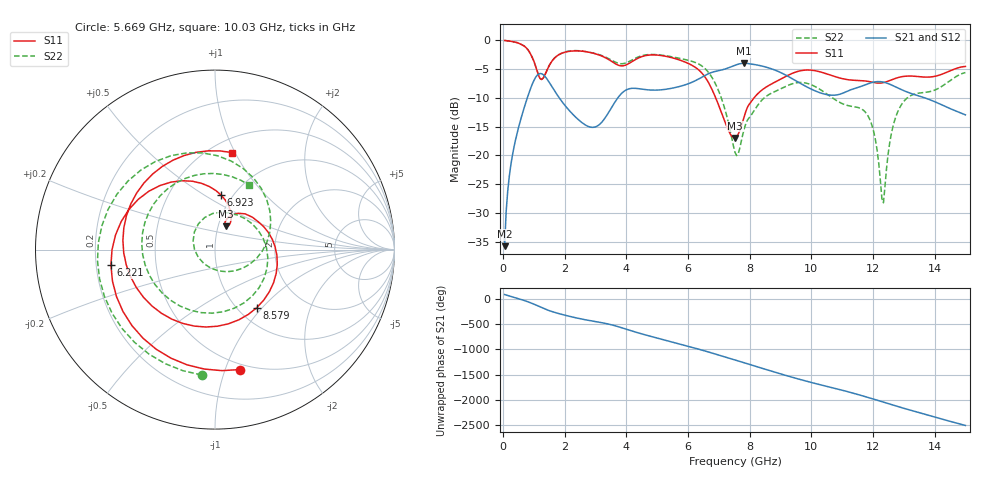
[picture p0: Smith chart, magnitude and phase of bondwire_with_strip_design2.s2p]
! Touchstone file exported from HFSS 2021.1.0
!  File:  /home/yxiao22/Documents/ANSYS/mstrip_wt_bondwire/exercise_1.aedt
!  Generated:  11:52:15 AM  Feb 11, 2022
!  Design:  design2
!  Project:  exercise_1
!  Setup:  Setup1
!  Solution:  Sweep
! Variables:
!  bondwire_diam = 0.1mm
!  gap_x = 10mm
!  gap_y = 10mm
!  main_x = 80mm
!  main_y = 10mm
!  sub_z = 1mm
!  tr1_len = 30mm
!  tr1_w = 2mm
!  tr_thickness = 0.0017mm
!  tr_width = 2mm
# GHz S MA R 50.000000
! Terminal data exported
! Port[1] = 1
! Port[2] = 2
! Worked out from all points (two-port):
!   299 points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, 50.17 MHz to 15 GHz, reference 50 ohm
!   highest |S21| = -3.97 dB at 7.826 GHz (marker M1); lowest = -35.8 dB at 50.17 MHz (marker M2)
!   |S21| within 3 dB of the highest: 1.002 GHz to 1.457 GHz (454.3 MHz wide, 37 % of centre); 6.257 GHz to 9.479 GHz (3.222 GHz wide, 40.9 % of centre)
!   lowest |S11| = -17.0 dB at 7.525 GHz (marker M3), VSWR 1.33, Z = 54.3 + j14.3 ohm
!   |S11| at or under -10 dB: 6.898 GHz to 8.144 GHz (1.246 GHz wide, 16.6 % of centre)
!   |S22| runs from -28.3 to 0.0 dB; largest |S21 - S12| = 1.6e-14
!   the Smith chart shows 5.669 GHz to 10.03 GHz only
!   S11 on the Smith chart (normalised r, x): 5.669 GHz: 0.45, -1.12; 6.221 GHz: 0.26, -0.07; 6.923 GHz: 0.89, +0.59; 8.579 GHz: 1.21, -0.93; 10.03 GHz: 0.63, +0.97
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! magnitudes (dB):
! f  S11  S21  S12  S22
! 50.17 MHz  0.0  -35.8  -35.8  0.0
! 150.5 MHz  -0.1  -26.3  -26.3  -0.1
! 301 MHz  -0.2  -20.1  -20.1  -0.2
! 1.054 GHz  -4.5  -6.5  -6.5  -4.5
! 1.254 GHz  -6.8  -5.8  -5.8  -6.8
! 2.559 GHz  -1.9  -14.3  -14.3  -1.9
! 4.013 GHz  -4.2  -8.6  -8.6  -3.9
! 5.067 GHz  -2.6  -8.6  -8.6  -2.5
! 5.669 GHz  -3.3  -8.1  -8.1  -3.1
! 6.221 GHz  -4.6  -7.1  -7.1  -3.8
! 6.923 GHz  -10.3  -5.4  -5.4  -7.9
! 7.525 GHz  -17.0  -4.3  -4.3  -19.5
! 7.575 GHz  -16.8  -4.2  -4.2  -20.0
! 7.826 GHz  -13.2  -4.0  -4.0  -15.4
! 8.579 GHz  -8.0  -4.7  -4.7  -9.6
! 10.03 GHz  -5.2  -8.6  -8.6  -7.8
! 11.84 GHz  -7.1  -7.6  -7.6  -13.1
! 12.09 GHz  -7.4  -7.2  -7.2  -17.6
! 12.34 GHz  -7.4  -7.3  -7.3  -28.3
! 12.54 GHz  -7.0  -7.6  -7.6  -17.9
! 13.09 GHz  -6.2  -9.0  -9.0  -10.1
! 15 GHz  -4.5  -13.0  -13.0  -5.6
